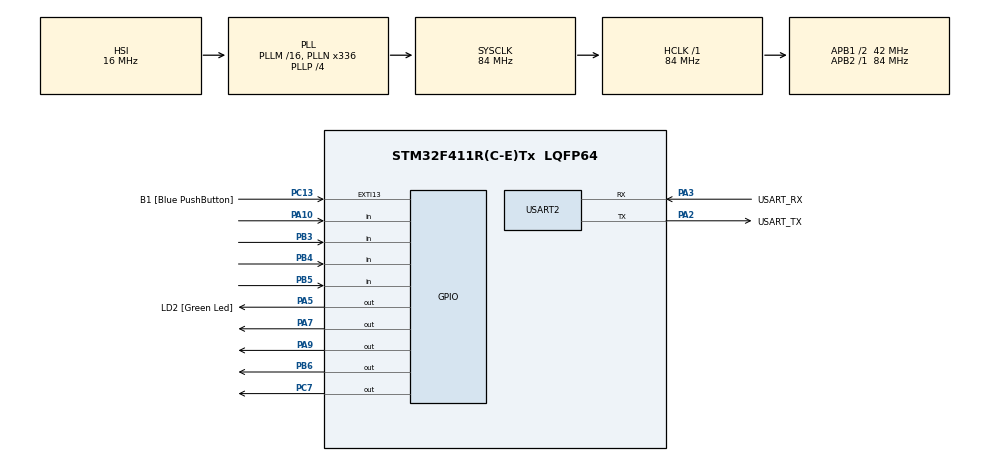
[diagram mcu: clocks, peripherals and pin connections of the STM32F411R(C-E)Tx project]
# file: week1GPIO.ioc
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Mcu.Family=STM32F4
Mcu.Name=STM32F411R(C-E)Tx
Mcu.Package=LQFP64
NVIC.PriorityGroup=NVIC_PRIORITYGROUP_0
PA10.Signal=GPIO_Input
PA13.GPIO_Label=TMS
PA13.Mode=Serial_Wire
PA13.Signal=SYS_JTMS-SWDIO
PA14.GPIO_Label=TCK
PA14.Mode=Serial_Wire
PA14.Signal=SYS_JTCK-SWCLK
PA2.GPIO_Label=USART_TX
PA2.Mode=Asynchronous
PA2.Signal=USART2_TX
PA3.GPIO_Label=USART_RX
PA3.Mode=Asynchronous
PA3.Signal=USART2_RX
PA5.GPIO_Label=LD2 [Green Led]
PA5.Signal=GPIO_Output
PA7.Signal=GPIO_Output
PA9.Signal=GPIO_Output
PB3.Signal=GPIO_Input
PB4.Signal=GPIO_Input
PB5.Signal=GPIO_Input
PB6.Signal=GPIO_Output
PC13-ANTI_TAMP.GPIO_Label=B1 [Blue PushButton]
PC13-ANTI_TAMP.GPIO_ModeDefaultEXTI=GPIO_MODE_IT_FALLING
PC13-ANTI_TAMP.Signal=GPXTI13
PC14-OSC32_IN.Mode=LSE-External-Oscillator
PC14-OSC32_IN.Signal=RCC_OSC32_IN
PC15-OSC32_OUT.Mode=LSE-External-Oscillator
PC15-OSC32_OUT.Signal=RCC_OSC32_OUT
PC7.Signal=GPIO_Output
PH0\ -\ OSC_IN.Mode=HSE-External-Clock-Source
PH0\ -\ OSC_IN.Signal=RCC_OSC_IN
PH1\ -\ OSC_OUT.Mode=HSE-External-Clock-Source
PH1\ -\ OSC_OUT.Signal=RCC_OSC_OUT
ProjectManager.HeapSize=0x200
ProjectManager.StackSize=0x400
ProjectManager.TargetToolchain=STM32CubeIDE
RCC.48MHZClocksFreq_Value=84000000
RCC.AHBFreq_Value=84000000
RCC.APB1CLKDivider=RCC_HCLK_DIV2
RCC.APB1Freq_Value=42000000
RCC.APB1TimFreq_Value=84000000
RCC.APB2Freq_Value=84000000
RCC.APB2TimFreq_Value=84000000
RCC.CortexFreq_Value=84000000
RCC.FLatency-AdvancedSettings=FLASH_LATENCY_2
RCC.HCLKFreq_Value=84000000
RCC.HSE_VALUE=8000000
RCC.HSI_VALUE=16000000
RCC.PLLN=336
RCC.PLLP=RCC_PLLP_DIV4
RCC.SYSCLKFreq_VALUE=84000000
RCC.SYSCLKSource=RCC_SYSCLKSOURCE_PLLCLK
RCC.VCOOutputFreq_Value=336000000
USART2.VirtualMode=VM_ASYNC
board=NUCLEO-F411RE

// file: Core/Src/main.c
/* USER CODE BEGIN Header */
/**
  ******************************************************************************
  * @file           : main.c
  * @brief          : Main program body
  ******************************************************************************
  * @attention
  *
  * <h2><center>&copy; Copyright (c) 2021 STMicroelectronics.
  * All rights reserved.</center></h2>
  *
  * This software component is licensed by ST under BSD 3-Clause license,
  * the "License"; You may not use this file except in compliance with the
  * License. You may obtain a copy of the License at:
  *                        opensource.org/licenses/BSD-3-Clause
  *
  ******************************************************************************
  */
/* USER CODE END Header */
#include "main.h"

UART_HandleTypeDef huart2;

void SystemClock_Config(void);
static void MX_GPIO_Init(void);
static void MX_USART2_UART_Init(void);

int main(void)
{

  /* MCU Configuration--------------------------------------------------------*/

  /* Reset of all peripherals, Initializes the Flash interface and the Systick. */
  HAL_Init();

  /* Configure the system clock */
  SystemClock_Config();

  /* Initialize all configured peripherals */
  MX_GPIO_Init();
  MX_USART2_UART_Init();
  /* USER CODE BEGIN 2 */
  GPIO_PinState SwitchState1[2];
  GPIO_PinState SwitchState2[2];
  GPIO_PinState SwitchState3[2];
  uint16_t LED1_HalfPeriod = 250;
  uint16_t LED3_FirstPeroid = 500;
  uint16_t LED3_SecondPeroid = 1500;
  uint32_t TimeStamp1 = 0;
  uint32_t TimeStamp3 = 0;
  uint32_t ButtonTimeStamp = 0;
  /* USER CODE END 2 */

  /* Infinite loop */
  while (1)
  {

    /* USER CODE BEGIN 3 */
	  if( HAL_GetTick() - ButtonTimeStamp >= 100){
	  ButtonTimeStamp = HAL_GetTick();
	  //press = low
	  SwitchState1[0] = HAL_GPIO_ReadPin(GPIOA, GPIO_PIN_10);
	  if(SwitchState1[1] == GPIO_PIN_SET && SwitchState1[0] == GPIO_PIN_RESET)
	  {
		  if(LED1_HalfPeriod == 1000) //0.5Hz
		  {
			  LED1_HalfPeriod = 500;
		  }
		  else if(LED1_HalfPeriod == 500) //1Hz
		  {
			  LED1_HalfPeriod = 250;
		  }
		  else if(LED1_HalfPeriod == 250) //2Hz
		  		  {
		  			  LED1_HalfPeriod = 166;
		  		  }
		  else //3Hz
		  {
			  LED1_HalfPeriod = 1000;
		  }
	  }

	  SwitchState2[0] = HAL_GPIO_ReadPin(GPIOB, GPIO_PIN_3);
	  if(SwitchState2[1] == GPIO_PIN_SET && SwitchState2[0] == GPIO_PIN_RESET)
	  {
		  if(HAL_GPIO_ReadPin(GPIOC, GPIO_PIN_7) == GPIO_PIN_RESET)
		  {
			  HAL_GPIO_WritePin(GPIOC, GPIO_PIN_7, GPIO_PIN_SET);
		  }
		  else
		  {
			  HAL_GPIO_WritePin(GPIOC, GPIO_PIN_7, GPIO_PIN_RESET);
		  }
	  }

	  SwitchState3[0] = HAL_GPIO_ReadPin(GPIOB, GPIO_PIN_5);
	  if(SwitchState3[1] == GPIO_PIN_SET && SwitchState3[0] == GPIO_PIN_RESET)
	  {
		  if(LED3_FirstPeroid == 500)
		  {
			  LED3_FirstPeroid = 1500; //On
			  LED3_SecondPeroid = 500; //Off
		  }
		  else
		  {
			  LED3_FirstPeroid = 500;
			  LED3_SecondPeroid = 1500;
		  }
	  }
	  SwitchState1[1] = SwitchState1[0];
	  SwitchState2[1] = SwitchState2[0];
	  SwitchState3[1] = SwitchState3[0];
	  }

	  if(HAL_GetTick() - TimeStamp1 >= LED1_HalfPeriod)
	  {
		  TimeStamp1 = HAL_GetTick();
		  if(HAL_GPIO_ReadPin(GPIOA, GPIO_PIN_9) == GPIO_PIN_SET)
		  {
			  HAL_GPIO_WritePin(GPIOA, GPIO_PIN_9, GPIO_PIN_RESET);
		  }
		  else
		  {
			  HAL_GPIO_WritePin(GPIOA, GPIO_PIN_9, GPIO_PIN_SET);
		  }
	  }

	  if(HAL_GetTick() - TimeStamp3 >= LED3_FirstPeroid && HAL_GPIO_ReadPin(GPIOB, GPIO_PIN_6) == GPIO_PIN_SET)
	  {
		  TimeStamp3 = HAL_GetTick();
		  HAL_GPIO_WritePin(GPIOB, GPIO_PIN_6, GPIO_PIN_RESET);
	  }
	  else if(HAL_GetTick() - TimeStamp3 >= LED3_SecondPeroid && HAL_GPIO_ReadPin(GPIOB, GPIO_PIN_6) == GPIO_PIN_RESET)
	  {
		  TimeStamp3 = HAL_GetTick();
		  HAL_GPIO_WritePin(GPIOB, GPIO_PIN_6, GPIO_PIN_SET);
	  }
  }
  /* USER CODE END 3 */
}

void SystemClock_Config(void)
{
  RCC_OscInitTypeDef RCC_OscInitStruct = {0};
  RCC_ClkInitTypeDef RCC_ClkInitStruct = {0};

  /** Configure the main internal regulator output voltage
  */
  __HAL_RCC_PWR_CLK_ENABLE();
  __HAL_PWR_VOLTAGESCALING_CONFIG(PWR_REGULATOR_VOLTAGE_SCALE1);
  /** Initializes the RCC Oscillators according to the specified parameters
  * in the RCC_OscInitTypeDef structure.
  */
  RCC_OscInitStruct.OscillatorType = RCC_OSCILLATORTYPE_HSI;
  RCC_OscInitStruct.HSIState = RCC_HSI_ON;
  RCC_OscInitStruct.HSICalibrationValue = RCC_HSICALIBRATION_DEFAULT;
  RCC_OscInitStruct.PLL.PLLState = RCC_PLL_ON;
  RCC_OscInitStruct.PLL.PLLSource = RCC_PLLSOURCE_HSI;
  RCC_OscInitStruct.PLL.PLLM = 16;
  RCC_OscInitStruct.PLL.PLLN = 336;
  RCC_OscInitStruct.PLL.PLLP = RCC_PLLP_DIV4;
  RCC_OscInitStruct.PLL.PLLQ = 4;
  if (HAL_RCC_OscConfig(&RCC_OscInitStruct) != HAL_OK)
  {
    Error_Handler();
  }
  /** Initializes the CPU, AHB and APB buses clocks
  */
  RCC_ClkInitStruct.ClockType = RCC_CLOCKTYPE_HCLK|RCC_CLOCKTYPE_SYSCLK
                              |RCC_CLOCKTYPE_PCLK1|RCC_CLOCKTYPE_PCLK2;
  RCC_ClkInitStruct.SYSCLKSource = RCC_SYSCLKSOURCE_PLLCLK;
  RCC_ClkInitStruct.AHBCLKDivider = RCC_SYSCLK_DIV1;
  RCC_ClkInitStruct.APB1CLKDivider = RCC_HCLK_DIV2;
  RCC_ClkInitStruct.APB2CLKDivider = RCC_HCLK_DIV1;

  if (HAL_RCC_ClockConfig(&RCC_ClkInitStruct, FLASH_LATENCY_2) != HAL_OK)
  {
    Error_Handler();
  }
}

static void MX_USART2_UART_Init(void)
{

  huart2.Instance = USART2;
  huart2.Init.BaudRate = 115200;
  huart2.Init.WordLength = UART_WORDLENGTH_8B;
  huart2.Init.StopBits = UART_STOPBITS_1;
  huart2.Init.Parity = UART_PARITY_NONE;
  huart2.Init.Mode = UART_MODE_TX_RX;
  huart2.Init.HwFlowCtl = UART_HWCONTROL_NONE;
  huart2.Init.OverSampling = UART_OVERSAMPLING_16;
  if (HAL_UART_Init(&huart2) != HAL_OK)
  {
    Error_Handler();
  }

}

static void MX_GPIO_Init(void)
{
  GPIO_InitTypeDef GPIO_InitStruct = {0};

  /* GPIO Ports Clock Enable */
  __HAL_RCC_GPIOC_CLK_ENABLE();
  __HAL_RCC_GPIOH_CLK_ENABLE();
  __HAL_RCC_GPIOA_CLK_ENABLE();
  __HAL_RCC_GPIOB_CLK_ENABLE();

  /*Configure GPIO pin Output Level */
  HAL_GPIO_WritePin(GPIOA, LD2_Pin|GPIO_PIN_7|GPIO_PIN_9, GPIO_PIN_RESET);

  /*Configure GPIO pin Output Level */
  HAL_GPIO_WritePin(GPIOC, GPIO_PIN_7, GPIO_PIN_RESET);

  /*Configure GPIO pin Output Level */
  HAL_GPIO_WritePin(GPIOB, GPIO_PIN_6, GPIO_PIN_RESET);

  /*Configure GPIO pin : B1_Pin */
  GPIO_InitStruct.Pin = B1_Pin;
  GPIO_InitStruct.Mode = GPIO_MODE_IT_FALLING;
  GPIO_InitStruct.Pull = GPIO_NOPULL;
  HAL_GPIO_Init(B1_GPIO_Port, &GPIO_InitStruct);

  /*Configure GPIO pins : LD2_Pin PA7 PA9 */
  GPIO_InitStruct.Pin = LD2_Pin|GPIO_PIN_7|GPIO_PIN_9;
  GPIO_InitStruct.Mode = GPIO_MODE_OUTPUT_PP;
  GPIO_InitStruct.Pull = GPIO_NOPULL;
  GPIO_InitStruct.Speed = GPIO_SPEED_FREQ_LOW;
  HAL_GPIO_Init(GPIOA, &GPIO_InitStruct);

  /*Configure GPIO pin : PC7 */
  GPIO_InitStruct.Pin = GPIO_PIN_7;
  GPIO_InitStruct.Mode = GPIO_MODE_OUTPUT_PP;
  GPIO_InitStruct.Pull = GPIO_NOPULL;
  GPIO_InitStruct.Speed = GPIO_SPEED_FREQ_LOW;
  HAL_GPIO_Init(GPIOC, &GPIO_InitStruct);

  /*Configure GPIO pin : PA10 */
  GPIO_InitStruct.Pin = GPIO_PIN_10;
  GPIO_InitStruct.Mode = GPIO_MODE_INPUT;
  GPIO_InitStruct.Pull = GPIO_NOPULL;
  HAL_GPIO_Init(GPIOA, &GPIO_InitStruct);

  /*Configure GPIO pins : PB3 PB4 PB5 */
  GPIO_InitStruct.Pin = GPIO_PIN_3|GPIO_PIN_4|GPIO_PIN_5;
  GPIO_InitStruct.Mode = GPIO_MODE_INPUT;
  GPIO_InitStruct.Pull = GPIO_NOPULL;
  HAL_GPIO_Init(GPIOB, &GPIO_InitStruct);

  /*Configure GPIO pin : PB6 */
  GPIO_InitStruct.Pin = GPIO_PIN_6;
  GPIO_InitStruct.Mode = GPIO_MODE_OUTPUT_PP;
  GPIO_InitStruct.Pull = GPIO_NOPULL;
  GPIO_InitStruct.Speed = GPIO_SPEED_FREQ_LOW;
  HAL_GPIO_Init(GPIOB, &GPIO_InitStruct);

}

void Error_Handler(void)
{
  __disable_irq();
  while (1)
  {
  }
}

/************************ (C) COPYRIGHT STMicroelectronics *****END OF FILE****/
